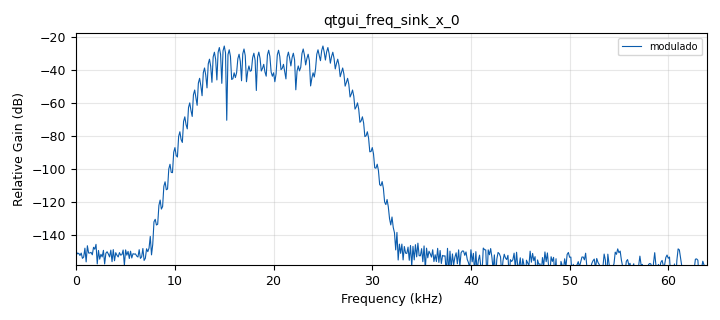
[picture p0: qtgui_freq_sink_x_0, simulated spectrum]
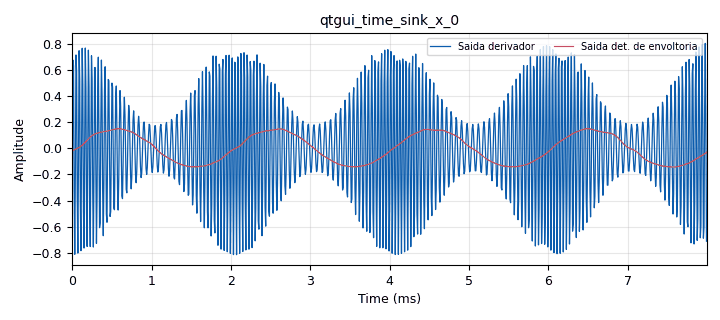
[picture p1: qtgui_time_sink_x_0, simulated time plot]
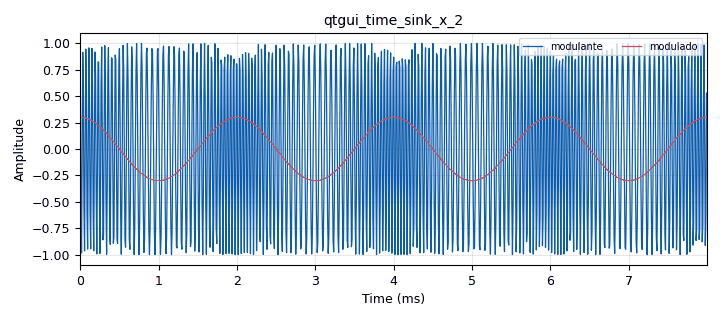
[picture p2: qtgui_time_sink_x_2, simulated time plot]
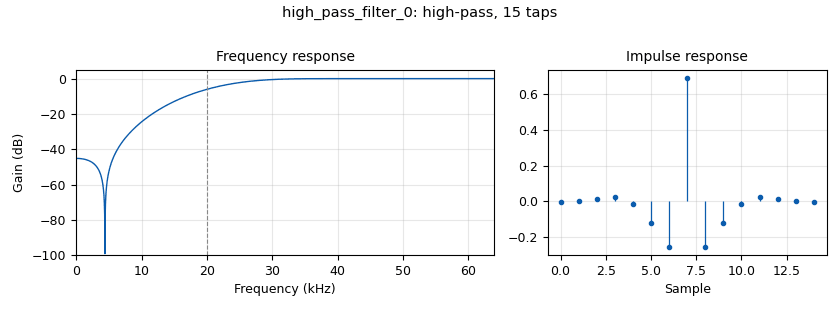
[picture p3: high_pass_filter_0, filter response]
options:
  parameters:
    category: Custom
    generate_options: qt_gui
    id: Labo4_4
    output_language: python
    title: Desmodulacao FM com Deteccao por Inclinacao
  states: {}

blocks:
- name: A
  id: variable_qtgui_range
  parameters:
    gui_hint: 0,0,1,1
    label: Ampl modulante
    start: '0'
    step: '0.01'
    stop: '0.7'
    value: '0.3'
  states: {}
- name: F
  id: variable_qtgui_range
  parameters:
    gui_hint: 0,1,1,1
    label: Freq modulante
    start: '0'
    step: '100'
    stop: '1000'
    value: '500'
  states: {}
- name: samp_rate
  id: variable
  parameters:
    value: 32000*4
  states: {}
- name: analog_am_demod_cf_0
  id: analog_am_demod_cf
  parameters:
    audio_decim: '1'
    audio_pass: '5000'
    audio_stop: '5500'
    chan_rate: samp_rate
  states: {}
- name: analog_sig_source_x_0
  id: analog_sig_source_x
  parameters:
    amp: A
    freq: F
    offset: '0.0'
    phase: '0'
    samp_rate: samp_rate
    type: float
    waveform: analog.GR_SIN_WAVE
  states: {}
- name: blocks_add_const_vxx_0
  id: blocks_add_const_vxx
  parameters:
    const: '1'
    type: float
  states: {}
- name: blocks_float_to_complex_0
  id: blocks_float_to_complex
  parameters: {}
  states: {}
- name: blocks_throttle_0
  id: blocks_throttle
  parameters:
    samples_per_second: samp_rate
    type: float
  states: {}
- name: blocks_vco_f_0
  id: blocks_vco_f
  parameters:
    amplitude: '1'
    samp_rate: samp_rate
    sensitivity: 2*6.28*10**4
  states: {}
- name: dc_blocker_xx_0
  id: dc_blocker_xx
  parameters:
    length: '256'
    long_form: 'True'
    type: ff
  states: {}
- name: high_pass_filter_0
  id: high_pass_filter
  parameters:
    cutoff_freq: '20000'
    decim: '1'
    gain: '1'
    samp_rate: samp_rate
    type: fir_filter_fff
    width: '20000'
    win: window.WIN_HAMMING
  states: {}
- name: qtgui_freq_sink_x_0
  id: qtgui_freq_sink_x
  parameters:
    autoscale: 'True'
    bw: samp_rate
    fc: '0'
    fftsize: '1024'
    freqhalf: 'False'
    grid: 'True'
    label1: modulado
    showports: 'True'
    type: float
  states: {}
- name: qtgui_time_sink_x_0
  id: qtgui_time_sink_x
  parameters:
    autoscale: 'True'
    grid: 'True'
    label1: Saida derivador
    label2: Saida det. de envoltoria
    name: ''
    nconnections: '2'
    size: '1024'
    srate: samp_rate
    type: float
  states: {}
- name: qtgui_time_sink_x_2
  id: qtgui_time_sink_x
  parameters:
    autoscale: 'True'
    grid: 'True'
    label1: modulante
    label2: modulado
    name: ''
    nconnections: '2'
    size: '1024'
    srate: samp_rate
    type: float
  states: {}

connections:
- [analog_am_demod_cf_0, '0', dc_blocker_xx_0, '0']
- [analog_sig_source_x_0, '0', blocks_throttle_0, '0']
- [analog_sig_source_x_0, '0', qtgui_time_sink_x_2, '1']
- [blocks_add_const_vxx_0, '0', blocks_vco_f_0, '0']
- [blocks_float_to_complex_0, '0', analog_am_demod_cf_0, '0']
- [blocks_throttle_0, '0', blocks_add_const_vxx_0, '0']
- [blocks_vco_f_0, '0', high_pass_filter_0, '0']
- [blocks_vco_f_0, '0', qtgui_freq_sink_x_0, '0']
- [blocks_vco_f_0, '0', qtgui_time_sink_x_2, '0']
- [dc_blocker_xx_0, '0', qtgui_time_sink_x_0, '1']
- [high_pass_filter_0, '0', blocks_float_to_complex_0, '0']
- [high_pass_filter_0, '0', blocks_float_to_complex_0, '1']
- [high_pass_filter_0, '0', qtgui_time_sink_x_0, '0']

metadata:
  file_format: 1
  grc_version: 3.10.7.0
